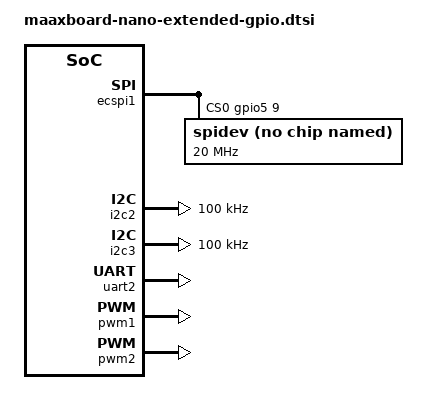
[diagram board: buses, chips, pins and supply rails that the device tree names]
/*
 * Copyright 2020 EMBEST
 *
 * This program is free software; you can redistribute it and/or
 * modify it under the terms of the GNU General Public License
 * as published by the Free Software Foundation; either version 2
 * of the License, or (at your option) any later version.
 *
 * This program is distributed in the hope that it will be useful,
 * but WITHOUT ANY WARRANTY; without even the implied warranty of
 * MERCHANTABILITY or FITNESS FOR A PARTICULAR PURPOSE.  See the
 * GNU General Public License for more details.
 */

/* 40-pin extended GPIO, expanded into SPI, I2C, PWM and other interfaces */

&iomuxc {
	pinctrl-names = "default";
	pinctrl-0 = <&pinctrl_hog>;

	imx8mn-evk {
		pinctrl_hog: hoggrp {
			fsl,pins = <
				/*Default GPIOs*/
				MX8MN_IOMUXC_SAI3_MCLK_GPIO5_IO2 		0x16	/* PIN 7,  GPIO 4  */
				MX8MN_IOMUXC_SAI3_MCLK_GPIO5_IO2		0x16	/* PIN 11, GPIO 17 */
				MX8MN_IOMUXC_SAI3_RXC_GPIO4_IO29 		0x16	/* PIN 13, GPIO 27 */
				MX8MN_IOMUXC_SAI3_RXFS_GPIO4_IO28 		0x16	/* PIN 15, GPIO 22 */
				MX8MN_IOMUXC_SD1_DATA6_GPIO2_IO8 		0x16	/* PIN 22, GPIO 25 */
				MX8MN_IOMUXC_SD1_STROBE_GPIO2_IO11		0x16	/* PIN 36, GPIO 16 */
				MX8MN_IOMUXC_SD1_DATA7_GPIO2_IO9 		0x16	/* PIN 37, GPIO 26 */
				MX8MN_IOMUXC_SPDIF_EXT_CLK_GPIO5_IO5	0x16	/* PIN 26, GPIO 8  */
				MX8MN_IOMUXC_GPIO1_IO15_GPIO1_IO15		0x16	/* PIN 29, GPIO 5  */
				MX8MN_IOMUXC_GPIO1_IO01_GPIO1_IO1		0x16	/* PIN 31, GPIO 6  */
				MX8MN_IOMUXC_SAI3_TXC_GPIO5_IO0			0x16	/* PIN 12, GPIO 18 */
				MX8MN_IOMUXC_SAI3_TXFS_GPIO4_IO31		0x16	/* PIN 35, GPIO 19 */
				MX8MN_IOMUXC_SAI3_RXD_GPIO4_IO30		0x16	/* PIN 38, GPIO 20 */
				MX8MN_IOMUXC_SAI3_TXD_GPIO5_IO1			0x16	/* PIN 40, GPIO 21 */
			>;
		};

		pinctrl_ecspi1: ecspi1grp {
			fsl,pins = <
				MX8MN_IOMUXC_ECSPI1_SCLK_ECSPI1_SCLK	0x82
				MX8MN_IOMUXC_ECSPI1_MOSI_ECSPI1_MOSI 	0x82
				MX8MN_IOMUXC_ECSPI1_MISO_ECSPI1_MISO	0x82
			>;
		};

		pinctrl_ecspi1_cs: ecspi1cs {
			fsl,pins = <
				MX8MN_IOMUXC_ECSPI1_SS0_GPIO5_IO9		0x40000
			>;
		};

		pinctrl_i2c2: i2c2grp {
			fsl,pins = <
				MX8MN_IOMUXC_I2C2_SCL_I2C2_SCL			0x400001c3
				MX8MN_IOMUXC_I2C2_SDA_I2C2_SDA			0x400001c3
			>;
		};

		pinctrl_i2c3: i2c3grp {
			fsl,pins = <
				MX8MN_IOMUXC_I2C3_SCL_I2C3_SCL			0x400001c3
				MX8MN_IOMUXC_I2C2_SDA_I2C2_SDA			0x400001c3
			>;
		};

		pinctrl_uart2: uart2grp {
			fsl,pins = <
				MX8MN_IOMUXC_UART2_TXD_UART2_DCE_TX		0x140
				MX8MN_IOMUXC_UART2_RXD_UART2_DCE_RX		0x140
			>;
		};

		pinctrl_pwm1: pwm1_grp {
			fsl,pins = <
				MX8MN_IOMUXC_SPDIF_EXT_CLK_PWM1_OUT		0x06
			>;
		};

		pinctrl_pwm2: pwm2_grp {
			fsl,pins = <
				MX8MN_IOMUXC_SPDIF_RX_PWM2_OUT		0x06
			>;
		};
	};
};

&ecspi1{
	#address-cells = <1>;
	#size-cells = <0>;
	fsl,spi-num-chipselects = < 1 >;
	pinctrl-names = "default";
	pinctrl-0 = <&pinctrl_ecspi1 &pinctrl_ecspi1_cs>;
	cs-gpios = <&gpio5 9 0 > ;
	status = "okay";
 
	spidev@0x00{
		#address-cellss=<1>;
		#size-cells=<1>;
		compatible = "spidev", "semtech,sx1301";
		spi-max-frequency = <20000000>;
		reg = <0>;
	};
};

&i2c2 {
	clock-frequency = <100000>;
	pinctrl-names = "default";
	pinctrl-0 = <&pinctrl_i2c2>;
	status = "okay";
};

&i2c3 {
	clock-frequency = <100000>;
	pinctrl-names = "default";
	pinctrl-0 = <&pinctrl_i2c3>;
	status = "okay";
};

&uart2 {
	pinctrl-names = "default";
	pinctrl-0 = <&pinctrl_uart2>;
	status = "okay";
};

&pwm1 {
        pinctrl-names = "default";
        pinctrl-0 = <&pinctrl_pwm1>;
        status = "okay";
};

&pwm2 {
        pinctrl-names = "default";
        pinctrl-0 = <&pinctrl_pwm2>;
        status = "okay";
};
